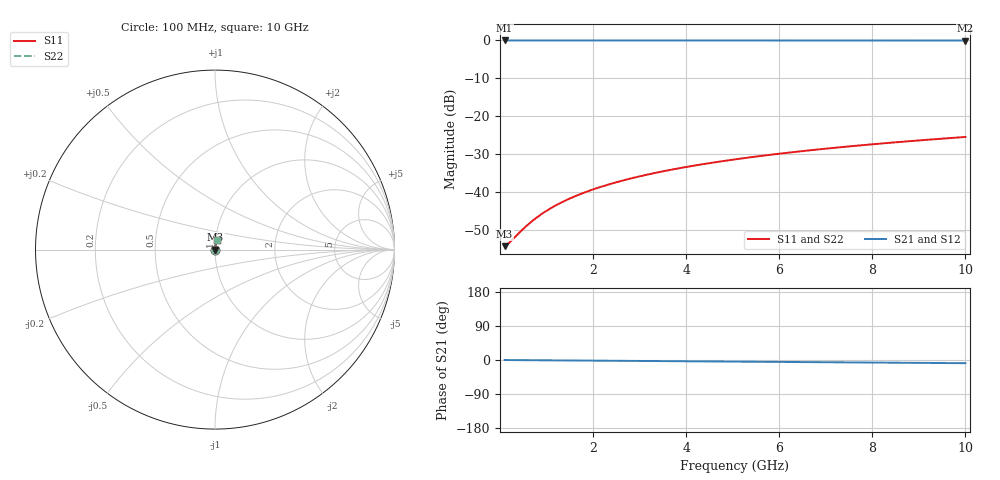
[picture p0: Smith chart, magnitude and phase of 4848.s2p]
# Hz S RI R 50.00
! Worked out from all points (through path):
!   100 points, 100 MHz to 10 GHz, reference 50 ohm
!   highest |S21| = -0.02 dB at 100 MHz (marker M1); lowest = 0.0 dB at 10 GHz (marker M2)
!   group delay of S21, straight-line fit = 2.34 ps
!   lowest |S11| = -54.2 dB at 100 MHz (marker M3), VSWR 1.00, Z = 50.2 + j0.0535 ohm
!   |S11| at or under -10 dB: start of sweep to end of sweep
!   |S22| runs from -54.2 to -25.4 dB; largest |S21 - S12| = 0
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1e8  0.00188 0.000533  0.9981 -0.00146  0.9981 -0.00146  0.00188 0.000533
2e8  0.00189 0.00107  0.9981 -0.00292  0.9981 -0.00292  0.00189 0.00107
5e8  0.00193 0.00266  0.9981 -0.00731  0.9981 -0.00731  0.00193 0.00266
6e8  0.00194 0.0032  0.998 -0.00877  0.998 -0.00877  0.00194 0.0032
7e8  0.00196 0.00373  0.998 -0.0102  0.998 -0.0102  0.00196 0.00373
9e8  0.00199 0.00479  0.998 -0.0132  0.998 -0.0132  0.00199 0.00479
1.1e9  0.00203 0.00586  0.9979 -0.0161  0.9979 -0.0161  0.00203 0.00586
1.3e9  0.00207 0.00692  0.9978 -0.019  0.9978 -0.019  0.00207 0.00692
1.5e9  0.00212 0.00799  0.9978 -0.0219  0.9978 -0.0219  0.00212 0.00799
1.8e9  0.00221 0.00959  0.9976 -0.0263  0.9976 -0.0263  0.00221 0.00959
2.1e9  0.0023 0.0112  0.9975 -0.0307  0.9975 -0.0307  0.0023 0.0112
2.5e9  0.00246 0.0133  0.9973 -0.0365  0.9973 -0.0365  0.00246 0.0133
2.9e9  0.00263 0.0154  0.997 -0.0424  0.997 -0.0424  0.00263 0.0154
3.4e9  0.00289 0.0181  0.9966 -0.0497  0.9966 -0.0497  0.00289 0.0181
3.8e9  0.00312 0.0202  0.9962 -0.0555  0.9962 -0.0555  0.00312 0.0202
4.2e9  0.00337 0.0223  0.9958 -0.0614  0.9958 -0.0614  0.00337 0.0223
5.1e9  0.00404 0.0271  0.9948 -0.0745  0.9948 -0.0745  0.00404 0.0271
5.9e9  0.00474 0.0313  0.9937 -0.0862  0.9937 -0.0862  0.00474 0.0313
6.7e9  0.00553 0.0355  0.9925 -0.0978  0.9925 -0.0978  0.00553 0.0355
7.5e9  0.00643 0.0396  0.9911 -0.1095  0.9911 -0.1095  0.00643 0.0396
8.4e9  0.00755 0.0443  0.9893 -0.1225  0.9893 -0.1225  0.00755 0.0443
1e10  0.00986 0.0525  0.9857 -0.1457  0.9857 -0.1457  0.00986 0.0525
